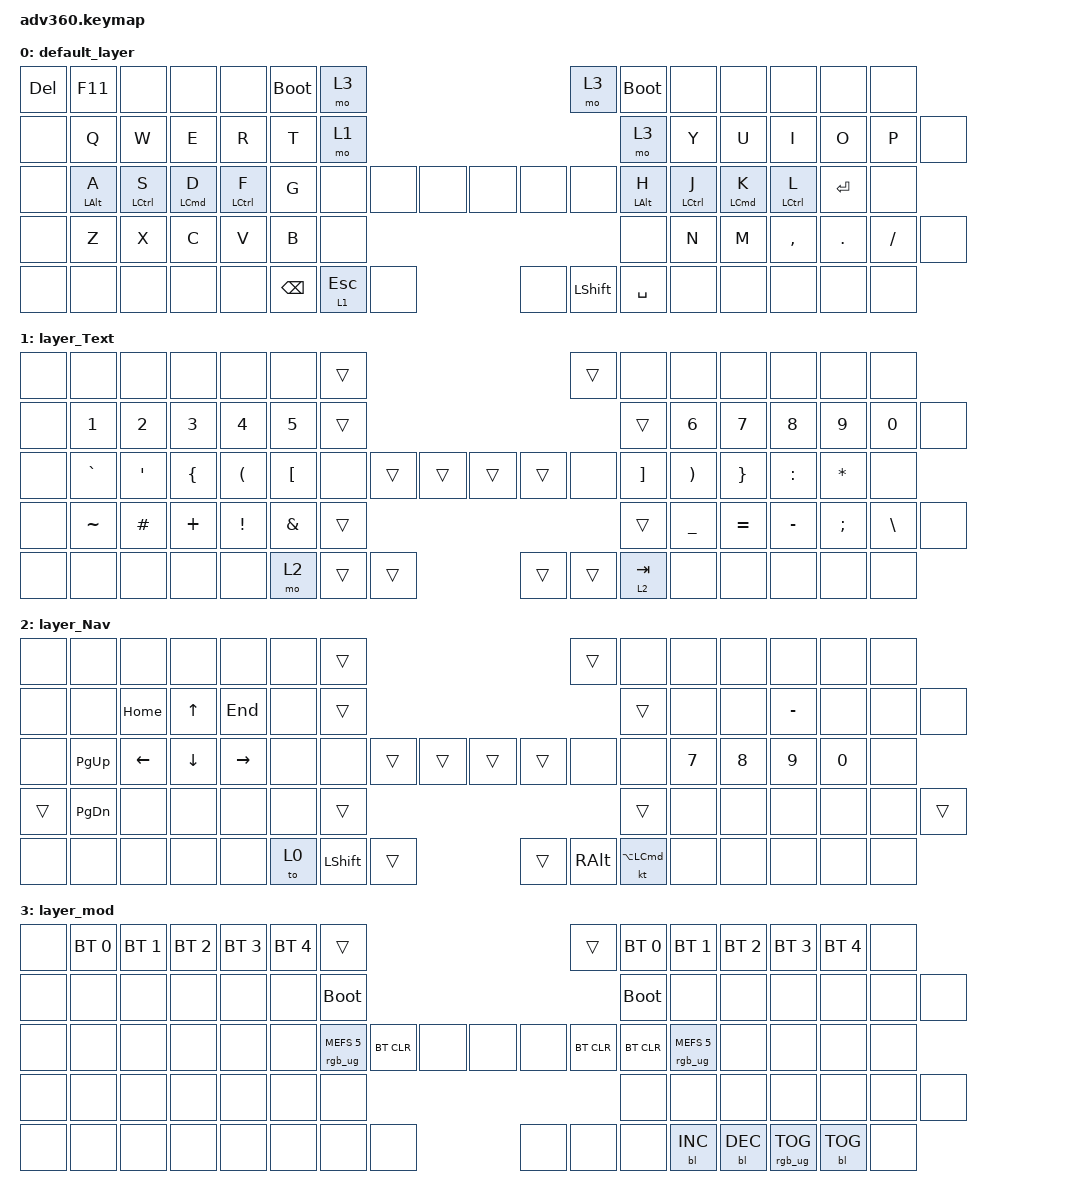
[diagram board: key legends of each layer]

/*
 * Copyright (c) 2020 The ZMK Contributors
 *
 * SPDX-License-Identifier: MIT
 */


/* THIS FILE WAS GENERATED!
 *
 * This file was generated automatically. You may or may not want to
 * edit it directly.
 */

#include <behaviors.dtsi>
#include <dt-bindings/zmk/keys.h>
#include <dt-bindings/zmk/keys.h>
#include <dt-bindings/zmk/bt.h>
#include <dt-bindings/zmk/rgb.h>
#include <dt-bindings/zmk/backlight.h>

/ {
  behaviors {
    #include "macros.dtsi"
    #include "version.dtsi"

    hm: homerow_mods {
        compatible = "zmk,behavior-hold-tap";
        label = "HOMEROW_MODS";
        #binding-cells = <2>;
        tapping-term-ms = <200>;
        quick_tap_ms = <175>;
        flavor = "tap-preferred";
        bindings = <&kp>, <&kp>;
    };
  };

    keymap {
        compatible = "zmk,keymap";


        default_layer {
            bindings = <
 &kp DEL     &kp F11        &none       &none        &none  &bootloader                    &mo 3                                                             &mo 3  &bootloader        &none       &none        &none      &none   &none
   &none       &kp Q        &kp W       &kp E        &kp R        &kp T                    &mo 1                                                             &mo 3        &kp Y        &kp U       &kp I        &kp O      &kp P   &none
   &none  &hm LALT A  &hm LCTRL S  &hm LCMD D  &hm LCTRL F        &kp G                    &none      &none   &none                   &none       &none      &none   &hm LALT H  &hm LCTRL J  &hm LCMD K  &hm LCTRL L  &kp ENTER   &none
   &none       &kp Z        &kp X       &kp C        &kp V        &kp B                                       &none                   &none                               &kp N        &kp M   &kp COMMA   &kp PERIOD  &kp SLASH   &none
   &none       &none        &none       &none        &none                         &kp BACKSPACE  &lt 1 ESC   &none                   &none  &kp LSHIFT  &kp SPACE                     &none       &none        &none      &none   &none
            >;
        };

        layer_Text {
            bindings = <
  &none         &none             &none           &none                 &none             &none            &trans                                                     &trans              &none                  &none            &none         &none          &none   &none
  &none  &kp NUMBER_1      &kp NUMBER_2    &kp NUMBER_3          &kp NUMBER_4      &kp NUMBER_5            &trans                                                     &trans       &kp NUMBER_6           &kp NUMBER_7     &kp NUMBER_8  &kp NUMBER_9   &kp NUMBER_0   &none
  &none     &kp GRAVE  &kp SINGLE_QUOTE  &kp LEFT_BRACE  &kp LEFT_PARENTHESIS  &kp LEFT_BRACKET             &none  &trans  &trans                  &trans  &trans      &none  &kp RIGHT_BRACKET  &kp RIGHT_PARENTHESIS  &kp RIGHT_BRACE     &kp COLON       &kp STAR   &none
  &none     &kp TILDE          &kp HASH        &kp PLUS              &kp EXCL          &kp AMPS                            &trans                  &trans                             &kp UNDER              &kp EQUAL        &kp MINUS      &kp SEMI  &kp BACKSLASH   &none
  &none         &none             &none           &none                 &none                               &mo 2  &trans  &trans                  &trans  &trans  &lt 2 TAB                                     &none            &none         &none          &none   &none
            >;
        };

        layer_Nav {
            bindings = <
  &none          &none           &none           &none            &none   &none            &trans                                                                               &trans   &none         &none         &none         &none         &none   &none
  &none          &none        &kp HOME    &kp UP_ARROW          &kp END   &none            &trans                                                                               &trans   &none         &none     &kp MINUS         &none         &none   &none
  &none    &kp PAGE_UP  &kp LEFT_ARROW  &kp DOWN_ARROW  &kp RIGHT_ARROW   &none             &none          &trans  &trans                  &trans         &trans                 &none   &none  &kp NUMBER_7  &kp NUMBER_8  &kp NUMBER_9  &kp NUMBER_0   &none
 &trans  &kp PAGE_DOWN           &none           &none            &none   &none                                    &trans                  &trans                                        &none         &none         &none         &none         &none  &trans
  &none          &none           &none           &none            &none                     &to 0  &kp LEFT_SHIFT  &trans                  &trans  &kp RIGHT_ALT  &kt LA(LEFT_COMMAND)                 &none         &none         &none         &none   &none
            >;
        };

        layer_mod {
            bindings = <
  &none  &bt BT_SEL 0  &bt BT_SEL 1  &bt BT_SEL 2  &bt BT_SEL 3  &bt BT_SEL 4                            &trans                                                           &trans  &bt BT_SEL 0            &bt BT_SEL 1  &bt BT_SEL 2     &bt BT_SEL 3  &bt BT_SEL 4   &none
  &none         &none         &none         &none         &none         &none                       &bootloader                                                      &bootloader         &none                   &none         &none            &none         &none   &none
  &none         &none         &none         &none         &none         &none            &rgb_ug RGB_MEFS_CMD 5  &bt BT_CLR   &none                   &none   &none   &bt BT_CLR    &bt BT_CLR  &rgb_ug RGB_MEFS_CMD 5         &none            &none         &none   &none
  &none         &none         &none         &none         &none         &none                                                 &none                   &none                              &none                   &none         &none            &none         &none   &none
  &none         &none         &none         &none         &none                                           &none       &none   &none                   &none   &none        &none                            &bl BL_INC    &bl BL_DEC  &rgb_ug RGB_TOG    &bl BL_TOG   &none
            >;
        };

    };
};
